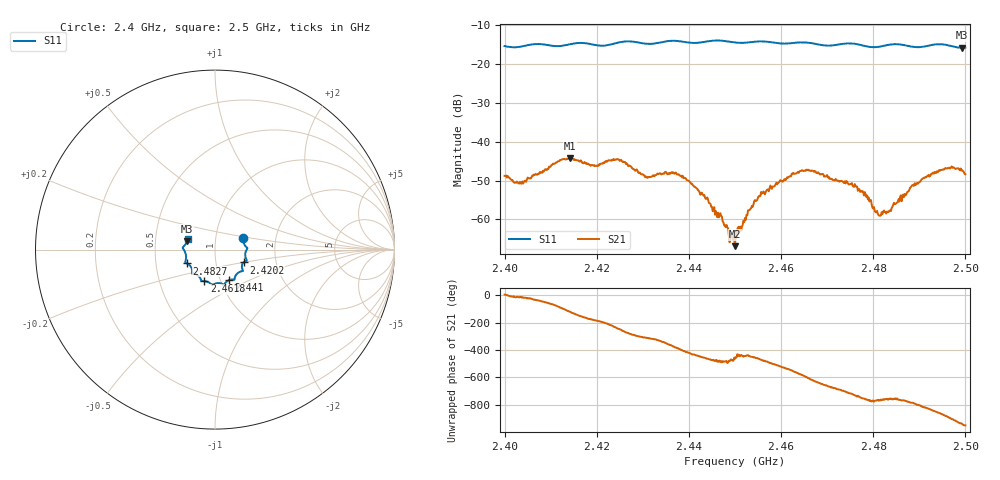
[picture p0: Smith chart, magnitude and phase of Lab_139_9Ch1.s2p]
# Hz S RI R 50
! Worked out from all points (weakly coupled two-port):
!   601 points, 2.4 GHz to 2.5 GHz, reference 50 ohm
!   highest |S21| = -44.22 dB at 2.4142 GHz (marker M1); lowest = -66.9 dB at 2.45 GHz (marker M2)
!   lowest |S11| = -15.8 dB at 2.4992 GHz (marker M3), VSWR 1.39, Z = 36.4 + j3.63 ohm
!   |S11| at or under -10 dB: start of sweep to end of sweep
!   S12 and S22 are empty: the file has one direction only
!   S11 on the Smith chart (normalised r, x): 2.4 GHz: 1.36, +0.18; 2.4202 GHz: 1.36, -0.20; 2.441 GHz: 1.10, -0.39; 2.4618 GHz: 0.84, -0.30; 2.4827 GHz: 0.72, -0.11; 2.5 GHz: 0.73, +0.09
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2.4e9  0.1586 0.0629  0.00361 0.000272  0 0  0 0
2.403667e9  0.1669 0.0228  0.00274 -0.000866  0 0  0 0
2.414167e9  0.1726 -0.0505  -0.00314 -0.00529  0 0  0 0
2.416667e9  0.177 -0.0608  -0.00507 -0.0024  0 0  0 0
2.420167e9  0.1589 -0.0714  -0.00491 0.000638  0 0  0 0
2.424833e9  0.1534 -0.1125  -0.0023 0.0054  0 0  0 0
2.430833e9  0.1286 -0.1296  0.00228 0.0026  0 0  0 0
2.433333e9  0.1117 -0.1508  0.00324 0.00201  0 0  0 0
2.436833e9  0.108 -0.1679  0.00368 -0.00118  0 0  0 0
2.441e9  0.0787 -0.1698  0.000827 -0.00258  0 0  0 0
2.449167e9  0.0362 -0.189  -0.000199 -0.0006  0 0  0 0
2.45e9  0.0287 -0.1872  -0.000103 -0.000439  0 0  0 0
2.4555e9  -0.0144 -0.1956  -0.000655 -0.00189  0 0  0 0
2.461833e9  -0.059 -0.1754  -0.00357 0.000193  0 0  0 0
2.466667e9  -0.0786 -0.1684  -0.000972 0.00414  0 0  0 0
2.475833e9  -0.1279 -0.1312  0.00259 -0.000358  0 0  0 0
2.481e9  -0.1422 -0.0863  0.000859 -0.000797  0 0  0 0
2.482667e9  -0.1558 -0.077  0.000975 -0.000761  0 0  0 0
2.483333e9  -0.1603 -0.0751  0.000966 -0.00078  0 0  0 0
2.4915e9  -0.1702 -0.00665  -0.000653 -0.00342  0 0  0 0
2.499167e9  -0.1549 0.0485  -0.00349 0.00243  0 0  0 0
2.5e9  -0.1521 0.0602  -0.00246 0.00289  0 0  0 0
